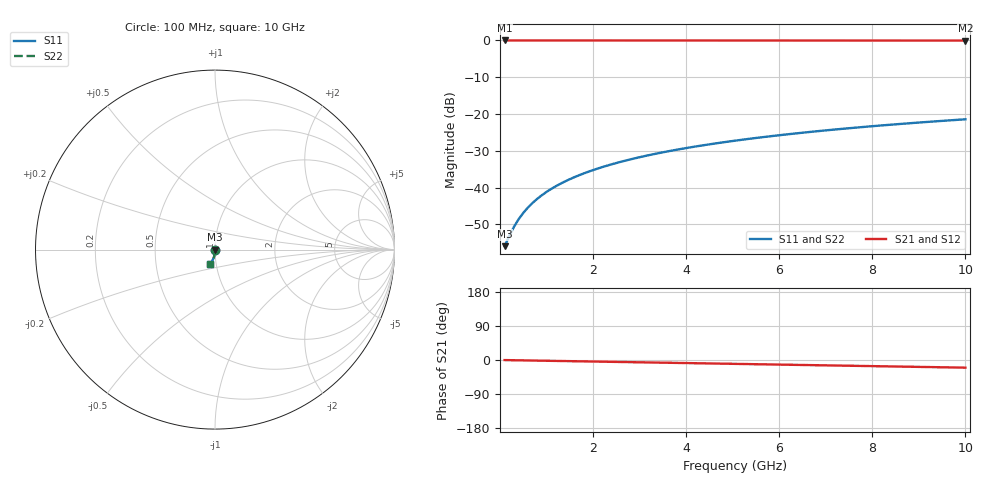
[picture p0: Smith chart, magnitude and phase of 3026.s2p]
# Hz S RI R 50.00
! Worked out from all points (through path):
!   100 points, 100 MHz to 10 GHz, reference 50 ohm
!   highest |S21| = -0.01 dB at 100 MHz (marker M1); lowest = 0.0 dB at 10 GHz (marker M2)
!   group delay of S21, straight-line fit = 5.61 ps
!   lowest |S11| = -55.9 dB at 100 MHz (marker M3), VSWR 1.00, Z = 50.1 - j0.0868 ohm
!   |S11| at or under -10 dB: start of sweep to end of sweep
!   |S22| runs from -55.9 to -21.4 dB; largest |S21 - S12| = 0
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1e8  0.00134 -0.000866  0.9986 -0.00352  0.9986 -0.00352  0.00134 -0.000866
2e8  0.00134 -0.00173  0.9986 -0.00703  0.9986 -0.00703  0.00134 -0.00173
3e8  0.00133 -0.0026  0.9986 -0.0106  0.9986 -0.0106  0.00133 -0.0026
4e8  0.00131 -0.00346  0.9985 -0.0141  0.9985 -0.0141  0.00131 -0.00346
5e8  0.00129 -0.00433  0.9985 -0.0176  0.9985 -0.0176  0.00129 -0.00433
6e8  0.00126 -0.0052  0.9984 -0.0211  0.9984 -0.0211  0.00126 -0.0052
7e8  0.00122 -0.00606  0.9983 -0.0246  0.9983 -0.0246  0.00122 -0.00606
9e8  0.00112 -0.00779  0.9981 -0.0317  0.9981 -0.0317  0.00112 -0.00779
1e9  0.00107 -0.00866  0.9979 -0.0352  0.9979 -0.0352  0.00107 -0.00866
1.2e9  0.000934 -0.0104  0.9976 -0.0422  0.9976 -0.0422  0.000934 -0.0104
1.5e9  0.000689 -0.013  0.9971 -0.0527  0.9971 -0.0527  0.000689 -0.013
1.8e9  0.000389 -0.0156  0.9964 -0.0633  0.9964 -0.0633  0.000389 -0.0156
2.1e9  3.35e-05 -0.0181  0.9956 -0.0738  0.9956 -0.0738  3.35e-05 -0.0181
2.5e9  -0.000525 -0.0216  0.9944 -0.0878  0.9944 -0.0878  -0.000525 -0.0216
2.9e9  -0.00118 -0.025  0.993 -0.1018  0.993 -0.1018  -0.00118 -0.025
3.4e9  -0.00214 -0.0292  0.9909 -0.1193  0.9909 -0.1193  -0.00214 -0.0292
4.2e9  -0.00397 -0.0359  0.9869 -0.1472  0.9869 -0.1472  -0.00397 -0.0359
5.1e9  -0.00649 -0.0433  0.9814 -0.1783  0.9814 -0.1783  -0.00649 -0.0433
5.9e9  -0.00911 -0.0498  0.9756 -0.2059  0.9756 -0.2059  -0.00911 -0.0498
6.7e9  -0.0121 -0.056  0.969 -0.2333  0.969 -0.2333  -0.0121 -0.056
8.4e9  -0.0196 -0.0688  0.9523 -0.2907  0.9523 -0.2907  -0.0196 -0.0688
1e10  -0.028 -0.0799  0.9334 -0.3435  0.9334 -0.3435  -0.028 -0.0799
